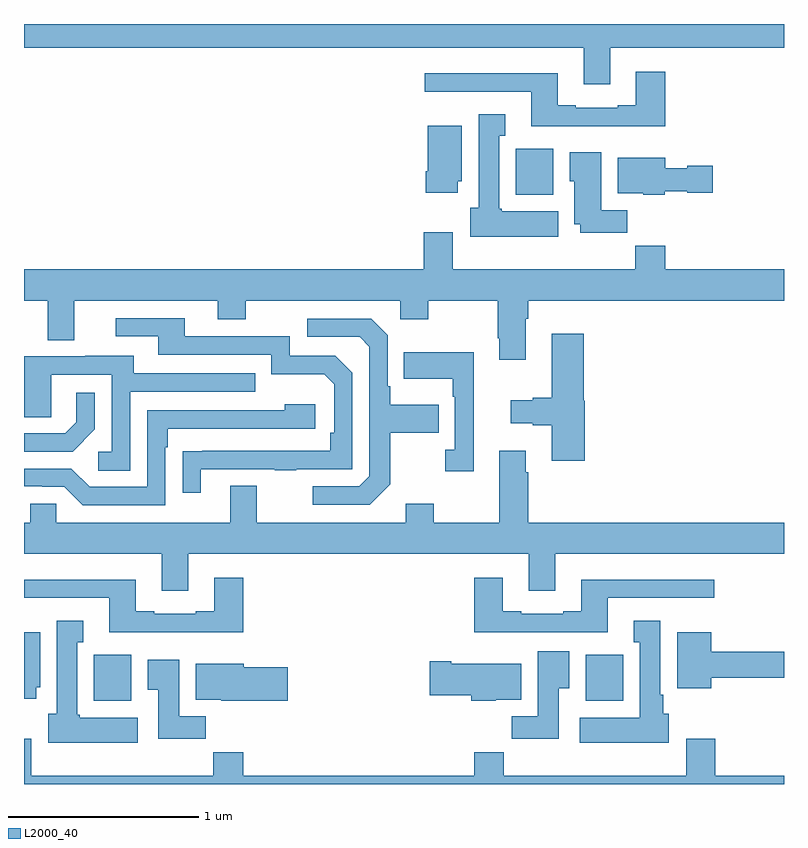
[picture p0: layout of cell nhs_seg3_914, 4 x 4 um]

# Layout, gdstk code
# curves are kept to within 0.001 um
import gdstk
lib = gdstk.Library(unit=1e-6, precision=1e-09)
def R(c, l, rs):  # rectangles x0, y0, x1, y1
    for r in rs: c.add(gdstk.rectangle(r[:2], r[2:], *l))
def P(c, l, *ps):  # polygons
    for p in ps: c.add(gdstk.Polygon(p, *l))
L2000_40 = (2000, 40)

nhs_seg3_914 = lib.new_cell('nhs_seg3_914')
R(nhs_seg3_914, L2000_40, [(159.368,670.838,159.565,671.08), (161.957,670.838,162.154,671.08), (161.588,673.502,161.785,673.744)])
P(nhs_seg3_914, L2000_40, [(162.085,674.276),(163,674.276),(163,674.4),(159,674.4),(159,674.276),(161.945,674.276),(161.945,674.082),(162.085,674.082)],
  [(162.374,674.149),(162.221,674.149),(162.221,673.972),(162.125,673.972),(162.125,673.959),(161.905,673.959),(161.905,673.972),(161.809,673.972),(161.809,674.14),(161.109,674.14),(161.109,674.043),(161.669,674.043),(161.669,673.862),(162.374,673.862)],
  [(161.812,673.414),(161.514,673.414),(161.514,673.428),(161.5,673.428),(161.5,673.811),(161.533,673.811),(161.533,673.924),(161.393,673.924),(161.393,673.434),(161.348,673.434),(161.348,673.28),(161.812,673.28)],
  [(161.284,673.572),(161.305,673.572),(161.305,673.864),(161.126,673.864),(161.126,673.624),(161.114,673.624),(161.114,673.512),(161.284,673.512)],
  [(162.176,673.42),(162.037,673.42),(162.037,673.726),(161.873,673.726),(161.873,673.572),(161.897,673.572),(161.897,673.346),(161.927,673.346),(161.927,673.302),(162.176,673.302)],
  [(162.372,673.52),(162.492,673.52),(162.492,673.513),(162.625,673.513),(162.625,673.655),(162.492,673.655),(162.492,673.642),(162.376,673.642),(162.376,673.696),(162.125,673.696),(162.125,673.508),(162.258,673.508),(162.258,673.502),(162.372,673.502)],
  [(161.641,672.848),(161.654,672.848),(161.654,672.944),(163,672.944),(163,673.108),(162.374,673.108),(162.374,673.232),(162.217,673.232),(162.217,673.108),(161.257,673.108),(161.257,673.303),(161.105,673.303),(161.105,673.108),(159,673.108),(159,672.944),(159.125,672.944),(159.125,672.736),(159.265,672.736),(159.265,672.944),(160.019,672.944),(160.019,672.845),(160.167,672.845),(160.167,672.944),(160.98,672.944),(160.98,672.845),(161.127,672.845),(161.127,672.944),(161.494,672.944),(161.494,672.745),(161.501,672.745),(161.501,672.633),(161.641,672.633)],
  [(159.931,672.057),(160.321,672.057),(160.321,672.052),(160.433,672.052),(160.433,672.057),(160.728,672.057),(160.728,672.564),(160.638,672.654),(160.398,672.654),(160.398,672.756),(159.847,672.756),(159.847,672.852),(159.483,672.852),(159.483,672.756),(159.707,672.756),(159.707,672.66),(160.302,672.66),(160.302,672.557),(160.579,672.557),(160.632,672.504),(160.632,672.25),(160.612,672.25),(160.612,672.153),(159.835,672.152),(159.835,671.934),(159.931,671.934)],
  [(160.927,671.977),(160.927,672.25),(161.183,672.25),(161.183,672.397),(160.927,672.397),(160.927,672.493),(160.914,672.493),(160.914,672.762),(160.827,672.849),(160.491,672.849),(160.491,672.753),(160.767,672.753),(160.818,672.702),(160.818,672.021),(160.764,671.967),(160.521,671.967),(160.521,671.871),(160.821,671.871)],
  [(161.95,672.417),(161.945,672.417),(161.945,672.769),(161.777,672.769),(161.777,672.434),(161.678,672.434),(161.678,672.421),(161.562,672.421),(161.562,672.299),(161.678,672.299),(161.678,672.287),(161.777,672.287),(161.777,672.102),(161.95,672.102)],
  [(161.366,672.673),(160.999,672.673),(160.999,672.533),(161.256,672.533),(161.256,672.437),(161.268,672.437),(161.268,672.158),(161.217,672.158),(161.217,672.045),(161.366,672.045)],
  [(159.558,672.465),(160.217,672.465),(160.217,672.561),(159.577,672.561),(159.577,672.655),(159.323,672.655),(159.323,672.651),(159,672.651),(159,672.331),(159.144,672.331),(159.144,672.555),(159.462,672.555),(159.462,672.15),(159.39,672.15),(159.39,672.049),(159.558,672.049)],
  [(159.372,672.266),(159.372,672.46),(159.275,672.46),(159.275,672.303),(159.218,672.246),(159,672.246),(159,672.15),(159.256,672.15)],
  [(159.744,672.173),(159.757,672.173),(159.757,672.27),(160.534,672.27),(160.534,672.4),(160.373,672.4),(160.373,672.366),(159.648,672.366),(159.648,671.964),(159.345,671.964),(159.249,672.06),(159,672.06),(159,671.967),(159.095,671.967),(159.095,671.964),(159.213,671.964),(159.309,671.868),(159.744,671.868)],
  [(159.865,671.612),(161.657,671.612),(161.657,671.418),(161.797,671.418),(161.797,671.612),(163,671.612),(163,671.776),(161.654,671.776),(161.654,672.041),(161.641,672.041),(161.641,672.154),(161.501,672.154),(161.501,671.776),(161.157,671.776),(161.157,671.875),(161.009,671.875),(161.009,671.776),(160.225,671.776),(160.225,671.971),(160.085,671.971),(160.085,671.776),(159.171,671.776),(159.171,671.874),(159.033,671.874),(159.033,671.776),(159,671.776),(159,671.612),(159.725,671.612),(159.725,671.418),(159.865,671.418)],
  [(161.609,671.199),(162.073,671.199),(162.073,671.379),(162.634,671.379),(162.634,671.476),(161.933,671.476),(161.933,671.308),(161.837,671.308),(161.837,671.295),(161.617,671.295),(161.617,671.308),(161.521,671.308),(161.521,671.485),(161.369,671.485),(161.369,671.198),(161.609,671.198)],
  [(160.154,671.485),(160.001,671.485),(160.001,671.308),(159.905,671.308),(159.905,671.295),(159.685,671.295),(159.685,671.308),(159.589,671.308),(159.589,671.476),(159,671.476),(159,671.379),(159.449,671.379),(159.449,671.198),(160.154,671.198)],
  [(162.394,670.77),(162.364,670.77),(162.364,670.87),(162.349,670.87),(162.349,671.26),(162.209,671.26),(162.209,671.147),(162.242,671.147),(162.242,670.75),(161.925,670.75),(161.925,670.616),(162.394,670.616)],
  [(159.598,670.75),(159.294,670.75),(159.294,670.764),(159.28,670.764),(159.28,671.147),(159.313,671.147),(159.313,671.26),(159.173,671.26),(159.173,670.77),(159.128,670.77),(159.128,670.616),(159.598,670.616)],
  [(159.064,670.908),(159.085,670.908),(159.085,671.2),(159,671.2),(159,670.848),(159.064,670.848)],
  [(162.616,670.96),(163,670.96),(163,671.096),(162.616,671.096),(162.616,671.2),(162.437,671.2),(162.437,670.904),(162.616,670.904)],
  [(161.815,670.904),(161.869,670.904),(161.869,671.098),(161.705,671.098),(161.705,670.756),(161.566,670.756),(161.566,670.638),(161.815,670.638)],
  [(159.956,670.756),(159.817,670.756),(159.817,671.053),(159.65,671.053),(159.65,670.897),(159.707,670.897),(159.707,670.638),(159.956,670.638)],
  [(161.484,670.844),(161.617,670.844),(161.617,671.032),(161.248,671.032),(161.248,671.045),(161.136,671.045),(161.136,670.867),(161.354,670.867),(161.354,670.838),(161.484,670.838)],
  [(160.387,671.015),(160.156,671.015),(160.156,671.032),(159.905,671.032),(159.905,670.844),(160.038,670.844),(160.038,670.838),(160.387,670.838)],
  [(163,670.444),(162.638,670.444),(162.638,670.639),(162.485,670.639),(162.485,670.444),(161.525,670.444),(161.525,670.568),(161.369,670.568),(161.369,670.444),(160.154,670.444),(160.154,670.568),(159.997,670.568),(159.997,670.444),(159.037,670.444),(159.037,670.639),(159,670.639),(159,670.4),(163,670.4)])

lib.write_gds('nhs_seg3_914.gds')
